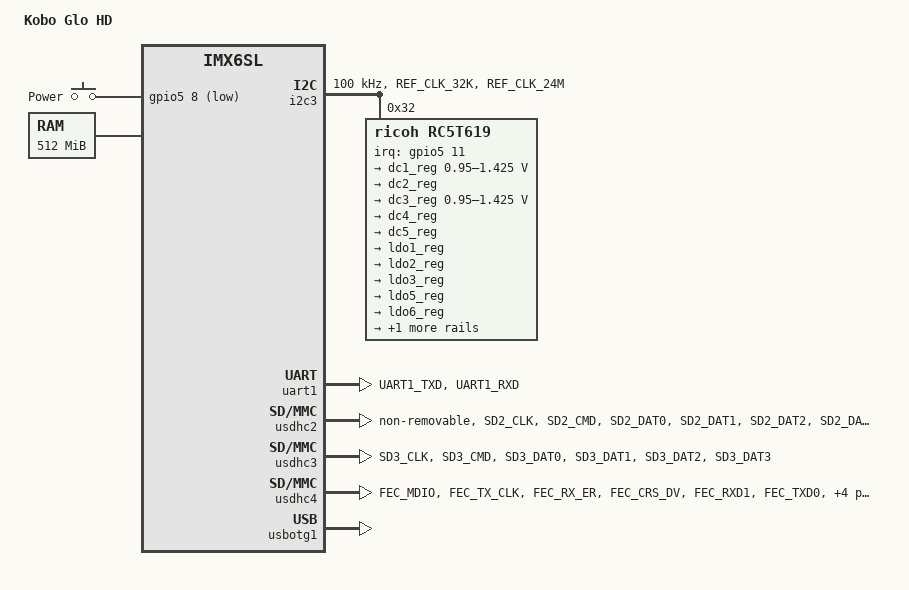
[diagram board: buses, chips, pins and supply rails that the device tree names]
// SPDX-License-Identifier: (GPL-2.0)
/*
 * Device tree for the Kobo Glo HD ebook reader.
 *
 * Name on mainboard is: 37NB-E60Q90+4A1
 * Board name in uboot sources: E60Q90
 *
 * Copyright 2021 Armin Preiml
 * based on works
 * Copyright 2015 Freescale Semiconductor, Inc.
 */

/dts-v1/;

#include <dt-bindings/input/input.h>
#include <dt-bindings/gpio/gpio.h>
#include "imx6sl.dtsi"

/ {
	model = "Kobo Glo HD";
	compatible = "kobo,glo-hd", "fsl,imx6sl";

	chosen {
		stdout-path = "serial1:115200n8";
	};

	gpio_keys: gpio-keys {
		compatible = "gpio-keys";
		pinctrl-names = "default";
		pinctrl-0 = <&pinctrl_gpio_keys>;

		power {
			label = "Power";
			gpios = <&gpio5 8 GPIO_ACTIVE_LOW>;
			linux,code = <KEY_POWER>;
			wakeup-source;
		};
	};

	memory@80000000 {
		device_type = "memory";
		reg = <0x80000000 0x20000000>;
	};
};

&i2c3 {
	pinctrl-names = "default";
	pinctrl-0 = <&pinctrl_i2c3>;
	clock-frequency = <100000>;
	status = "okay";

	rc5t619: pmic@32 {
		compatible = "ricoh,rc5t619";
		pinctrl-names = "default";
		pinctrl-0 = <&pinctrl_pmic>;
		reg = <0x32>;
		interrupt-parent = <&gpio5>;
                interrupts = <11 IRQ_TYPE_EDGE_FALLING>;
		system-power-controller;
		status = "okay";

		regulators {
			// vdd_core2_1v3_soc
			dc1_reg: DCDC1 {
				regulator-name = "DCDC1"; 
				regulator-always-on;
				regulator-boot-on;
				regulator-min-microvolt = <950000>;
				regulator-max-microvolt = <1425000>;
				regulator-state-mem {
					regulator-on-in-suspend;
					regulator-suspend-min-microvolt = <950000>;
					regulator-suspend-max-microvolt = <950000>;
				};
			};

			// vdd_core1_3v3
			dc2_reg: DCDC2 {
				regulator-name = "DCDC2";
				regulator-always-on;
				regulator-boot-on;
			};

			// vdd_core2_1v3_arm
			dc3_reg: DCDC3 {
				regulator-name = "DCDC3";
				regulator-always-on;
				regulator-boot-on;
				regulator-min-microvolt = <950000>;
				regulator-max-microvolt = <1425000>;
				regulator-state-mem {
					regulator-on-in-suspend;
					regulator-suspend-min-microvolt = <950000>;
					regulator-suspend-max-microvolt = <950000>;
				};
			};

			// vdd_core4_1v2
			dc4_reg: DCDC4 {
				regulator-name = "DCDC4";
				regulator-always-on;
				regulator-boot-on;
			};

			// vdd_core4_1v8
			dc5_reg: DCDC5 {
				regulator-name = "DCDC5";
				regulator-always-on;
				regulator-boot-on;
			};

			// vdd_ir3v3
			ldo1_reg: LDO1 {
				regulator-name = "LDO1";
				regulator-always-on;
				regulator-boot-on;
			};

			ldo2_reg: LDO2 {
				regulator-name = "LDO2";
				regulator-always-on;
				regulator-boot-on;
			};

			// vdd_core5_1v2
			ldo3_reg: LDO3 {
				regulator-name = "LDO3";
				regulator-always-on;
				regulator-boot-on;
			};

			// vdd_spd_3v3
			ldo5_reg: LDO5 {
				regulator-name = "LDO5";
				regulator-always-on;
				regulator-boot-on;
			};

			// vdd_ddr_0v6
			ldo6_reg: LDO6 {
				regulator-name = "LDO6";
				regulator-always-on;
				regulator-boot-on;
			};

			// vdd_pwm, vdd_fl_0_pwm, vdd_fl_pwm
			ldo7_reg: LDO7 {};

			// vdd_rtc_3v3
			ldortc1: LDORTC1 {
				regulator-name = "LDORTC1";
				regulator-always-on;
				regulator-boot-on;
			};
		};
	};
};



&iomuxc {
        i2c1grp {
                fsl,pins = <
			MX6SL_PAD_I2C1_SCL__I2C1_SCL 0x1f8b1
			MX6SL_PAD_I2C1_SDA__I2C1_SDA 0x1f8b1
		>;
	};

	i2c2grp {
                fsl,pins = <
			MX6SL_PAD_I2C2_SCL__I2C2_SCL 0x1f8b1
			MX6SL_PAD_I2C2_SDA__I2C2_SDA 0x1f8b1
		>;
	};

        pinctrl_i2c3: i2c3grp {
                fsl,pins = <
			MX6SL_PAD_REF_CLK_32K__I2C3_SDA 0x1f8b1
			MX6SL_PAD_REF_CLK_24M__I2C3_SCL 0x1f8b1
		>;
	};

        pinctrl_gpio_keys: gpio_keysgrp {
                fsl,pins = <
			MX6SL_PAD_SD1_DAT1__GPIO5_IO08 0x110b0
		>;
	};

	pinctrl_pmic: pmicgrp {
		fsl,pins = <
                         MX6SL_PAD_SD1_CLK__GPIO5_IO15 0x17000  /* chg */
                         MX6SL_PAD_SD1_DAT0__GPIO5_IO11 0x17000 /* irq */
                         MX6SL_PAD_KEY_COL2__GPIO3_IO28 0x1b010 /* bat low */
		>;
	};

        pinctrl_uart1: uart1grp {
                fsl,pins = <
			MX6SL_PAD_UART1_TXD__UART1_TX_DATA 0x1b0b1
			MX6SL_PAD_UART1_RXD__UART1_RX_DATA 0x1b0b1
		>;
	};

	usbotg1grp {
		fsl,pins = <
			/* usbotg power gpio */
			MX6SL_PAD_KEY_COL4__GPIO4_IO00 0x1f010
			MX6SL_PAD_KEY_COL5__GPIO4_IO02 0x1f010
			/* usb hsic pin */
			MX6SL_PAD_HSIC_STROBE__USB_H_STROBE 0x17030
			MX6SL_PAD_HSIC_DAT__USB_H_DATA 0x17030
		>;
	};

        pinctrl_usdhc2: usdhc2grp { /* 50MHZ (>50MHZ: 0x1f0f9) */
                fsl,pins = <
			MX6SL_PAD_SD2_CLK__SD2_CLK 0x1f071
			MX6SL_PAD_SD2_CMD__SD2_CMD 0x1f071
			MX6SL_PAD_SD2_DAT0__SD2_DATA0 0x1f071
			MX6SL_PAD_SD2_DAT1__SD2_DATA1 0x1f071
			MX6SL_PAD_SD2_DAT2__SD2_DATA2 0x1f071
			MX6SL_PAD_SD2_DAT3__SD2_DATA3 0x1f071
		>;
	};

        pinctrl_usdhc3: usdhc3grp {
                fsl,pins = <
			MX6SL_PAD_SD3_CLK__SD3_CLK 0x1f071
			MX6SL_PAD_SD3_CMD__SD3_CMD 0x1f071
			MX6SL_PAD_SD3_DAT0__SD3_DATA0 0x1f071
			MX6SL_PAD_SD3_DAT1__SD3_DATA1 0x1f071
			MX6SL_PAD_SD3_DAT2__SD3_DATA2 0x1f071
			MX6SL_PAD_SD3_DAT3__SD3_DATA3 0x1f071
		>;
	};

	pinctrl_usdhc4: usdhc4grp {
		fsl,pins = <
			MX6SL_PAD_FEC_MDIO__SD4_CLK 0x1f071
			MX6SL_PAD_FEC_TX_CLK__SD4_CMD 0x1f071
			MX6SL_PAD_FEC_RX_ER__SD4_DATA0 0x1f071
			MX6SL_PAD_FEC_CRS_DV__SD4_DATA1 0x1f071
			MX6SL_PAD_FEC_RXD1__SD4_DATA2 0x1f071
			MX6SL_PAD_FEC_TXD0__SD4_DATA3 0x1f071
			MX6SL_PAD_FEC_MDC__SD4_DATA4 0x1f071
			MX6SL_PAD_FEC_RXD0__SD4_DATA5 0x1f071
			MX6SL_PAD_FEC_TX_EN__SD4_DATA6 0x1f071
			MX6SL_PAD_FEC_TXD1__SD4_DATA7 0x1f071
		>;
	};
};

&reg_vdd1p1 {
	vin-supply = <&dc2_reg>;
};

&reg_vdd2p5 {
	vin-supply = <&dc2_reg>;
};

&reg_pu {
	vin-supply = <&dc1_reg>;
};

&reg_soc {
	vin-supply = <&dc1_reg>;
};

&reg_arm {
	vin-supply = <&dc3_reg>;
};

&uart1 {
	/* J4 upper right side on the board */
	pinctrl-0 = <&pinctrl_uart1>;
	pinctrl-names = "default";
	status = "okay";
};

&usdhc2 {
	non-removable;
	pinctrl-names = "default";
	pinctrl-0 = <&pinctrl_usdhc2>;
	status = "okay";
};

&usdhc3 {
	pinctrl-names = "default";
	pinctrl-0 = <&pinctrl_usdhc3>;
	status = "okay";
};

&usdhc4 {
	pinctrl-names = "default";
	pinctrl-0 = <&pinctrl_usdhc4>;
	status = "okay";
};

&usbotg1 {
	pinctrl-names = "default";
	disable-over-current;
	adp-disable;
	srp-disable;
	hnp-disable;
	status = "okay";
};

